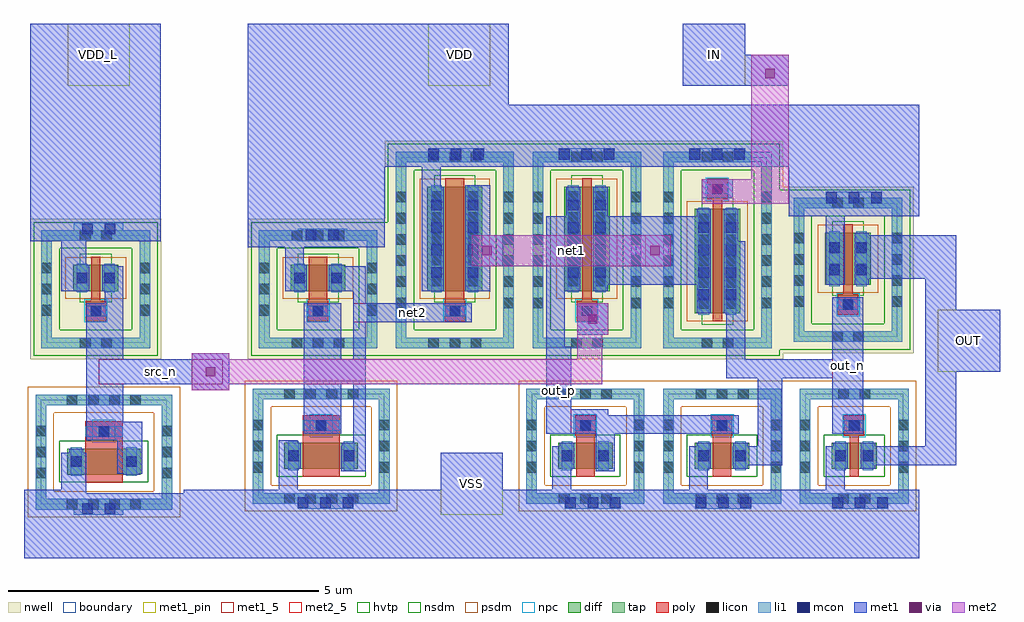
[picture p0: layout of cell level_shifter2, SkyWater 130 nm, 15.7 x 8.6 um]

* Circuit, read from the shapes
.subckt level_shifter2 IN OUT VDD VDD_L VSS net1 net2 out_n out_p src_n
XM1 src_n src_n VSS VSS sky130_fd_pr__nfet_01v8 w=0.42 l=0.6
XM2 net2 net2 VSS VSS sky130_fd_pr__nfet_01v8 w=0.42 l=0.6
XM3 out_p out_p VSS VSS sky130_fd_pr__nfet_01v8 w=0.42 l=0.3
XM4 out_n out_p VSS VSS sky130_fd_pr__nfet_01v8 w=0.42 l=0.3
XM5 OUT out_n VSS VSS sky130_fd_pr__nfet_01v8 w=0.42 l=0.15
XM6 src_n src_n VDD_L VDD_L sky130_fd_pr__pfet_01v8_hvt w=0.42 l=0.15
XM7 net2 net2 VDD VDD sky130_fd_pr__pfet_01v8_hvt w=0.42 l=0.3
XM8 net1 net2 VDD VDD sky130_fd_pr__pfet_01v8_hvt w=1.68 l=0.3
XM9 net1 src_n out_p VDD sky130_fd_pr__pfet_01v8_hvt w=1.68 l=0.15
XM10 out_n IN net1 VDD sky130_fd_pr__pfet_01v8_hvt w=1.68 l=0.15
XM11 OUT out_n VDD VDD sky130_fd_pr__pfet_01v8_hvt w=0.84 l=0.15
.ends

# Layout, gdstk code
import gdstk
lib = gdstk.Library(unit=1e-6, precision=1e-09)
def R(c, l, rs):  # rectangles x0, y0, x1, y1
    for r in rs: c.add(gdstk.rectangle(r[:2], r[2:], *l))
def A(c, l, x, y, w, h, nx, ny, dx, dy):  # array of equal rectangles
    R(c, l, [(x+i*dx, y+j*dy, x+i*dx+w, y+j*dy+h) for i in range(nx) for j in range(ny)])
nwell = (64, 20)
diff = (65, 20)
tap = (65, 44)
poly = (66, 20)
licon = (66, 44)
li1 = (67, 20)
mcon = (67, 44)
met1_5 = (68, 5)
met1_pin = (68, 16)
met1 = (68, 20)
via = (68, 44)
met2_5 = (69, 5)
met2 = (69, 20)
hvtp = (78, 44)
nsdm = (93, 44)
psdm = (94, 20)
npc = (95, 20)
boundary = (235, 4)

sky130_fd_pr__nfet_01v8_ = lib.new_cell('sky130_fd_pr__nfet_01v8_48YY59')
R(sky130_fd_pr__nfet_01v8_, diff, [(-0.59,-0.055,0.59,0.365)])
R(sky130_fd_pr__nfet_01v8_, tap, [(-1.1,-0.925,1.1,-0.755), (-1.1,-0.755,-0.93,0.755), (0.93,-0.755,1.1,0.755), (-1.1,0.755,1.1,0.925)])
R(sky130_fd_pr__nfet_01v8_, poly, [(-0.3,-0.495,0.3,0.495)])
A(sky130_fd_pr__nfet_01v8_, licon, -0.595, -0.925, 0.17, 0.17, 4, 2, 0.34, 1.68)
A(sky130_fd_pr__nfet_01v8_, licon, -1.1, -0.425, 0.17, 0.17, 1, 3, 0, 0.34)
A(sky130_fd_pr__nfet_01v8_, licon, 0.93, -0.425, 0.17, 0.17, 1, 3, 0, 0.34)
R(sky130_fd_pr__nfet_01v8_, licon, [(-0.085,-0.415,0.085,-0.245), (-0.53,0.07,-0.36,0.24), (0.36,0.07,0.53,0.24)])
R(sky130_fd_pr__nfet_01v8_, li1, [(-1.1,-0.925,1.1,-0.755), (-1.1,-0.755,-0.93,0.755), (0.93,-0.755,1.1,0.755), (-0.3,-0.415,0.3,-0.245), (-0.53,-0.075,-0.36,0.385), (0.36,-0.075,0.53,0.385), (-1.1,0.755,1.1,0.925)])
R(sky130_fd_pr__nfet_01v8_, mcon, [(-0.085,-0.415,0.085,-0.245), (-0.53,0.07,-0.36,0.24), (0.36,0.07,0.53,0.24)])
R(sky130_fd_pr__nfet_01v8_, met1, [(-0.28,-0.445,0.28,-0.215), (-0.56,-0.055,-0.33,0.365), (0.33,-0.055,0.56,0.365)])
R(sky130_fd_pr__nfet_01v8_, nsdm, [(-0.715,-0.18,0.715,0.49)])
R(sky130_fd_pr__nfet_01v8_, psdm, [(-1.225,-1.05,1.225,-0.63), (-1.225,-0.63,-0.805,0.63), (0.805,-0.63,1.225,0.63), (-1.225,0.63,1.225,1.05)])
R(sky130_fd_pr__nfet_01v8_, npc, [(-0.185,-0.515,0.185,-0.145)])
R(sky130_fd_pr__nfet_01v8_, boundary, [(-1.015,-0.84,1.015,0.84)])

sky130_fd_pr__pfet_01v8_ = lib.new_cell('sky130_fd_pr__pfet_01v8_hvt_2MG8BZ')
R(sky130_fd_pr__pfet_01v8_, nwell, [(-1.055,-1.34,1.055,1.34)])
R(sky130_fd_pr__pfet_01v8_, diff, [(-0.365,-0.24,0.365,0.6)])
R(sky130_fd_pr__pfet_01v8_, tap, [(-0.875,-1.16,0.875,-0.99), (-0.875,-0.99,-0.705,0.99), (0.705,-0.99,0.875,0.99), (-0.875,0.99,0.875,1.16)])
R(sky130_fd_pr__pfet_01v8_, poly, [(-0.165,-0.725,0.165,-0.395), (-0.075,-0.395,0.075,0.73)])
A(sky130_fd_pr__pfet_01v8_, licon, -0.875, -0.595, 0.17, 0.17, 1, 4, 0, 0.34)
A(sky130_fd_pr__pfet_01v8_, licon, 0.705, -0.595, 0.17, 0.17, 1, 4, 0, 0.34)
R(sky130_fd_pr__pfet_01v8_, licon, [(-0.255,-1.16,-0.085,-0.99), (0.085,-1.16,0.255,-0.99), (-0.085,-0.645,0.085,-0.475), (-0.305,-0.075,-0.135,0.095), (0.135,-0.075,0.305,0.095), (-0.305,0.265,-0.135,0.435), (0.135,0.265,0.305,0.435), (-0.255,0.99,-0.085,1.16), (0.085,0.99,0.255,1.16)])
R(sky130_fd_pr__pfet_01v8_, li1, [(-0.875,-1.16,0.875,-0.99), (-0.875,-0.99,-0.705,0.99), (0.705,-0.99,0.875,0.99), (-0.165,-0.645,0.165,-0.475), (-0.305,-0.26,-0.135,0.62), (0.135,-0.26,0.305,0.62), (-0.875,0.99,0.875,1.16)])
R(sky130_fd_pr__pfet_01v8_, mcon, [(-0.085,-0.645,0.085,-0.475), (-0.305,-0.085,-0.135,0.085), (0.135,-0.085,0.305,0.085), (-0.305,0.275,-0.135,0.445), (0.135,0.275,0.305,0.445)])
R(sky130_fd_pr__pfet_01v8_, met1, [(-0.145,-0.675,0.145,-0.445), (-0.335,-0.24,-0.105,0.6), (0.105,-0.24,0.335,0.6)])
R(sky130_fd_pr__pfet_01v8_, hvtp, [(-0.255,-0.42,0.255,0.78)])
R(sky130_fd_pr__pfet_01v8_, nsdm, [(-1,-1.285,1,-0.865), (-1,-0.865,-0.58,0.865), (0.58,-0.865,1,0.865), (-1,0.865,1,1.285)])
R(sky130_fd_pr__pfet_01v8_, psdm, [(-0.49,-0.365,0.49,0.725)])
R(sky130_fd_pr__pfet_01v8_, npc, [(-0.185,-0.745,0.185,-0.375)])
R(sky130_fd_pr__pfet_01v8_, boundary, [(-0.79,-1.075,0.79,1.075)])

c_sky130_fd_pr__nfet_01v8_ = lib.new_cell('sky130_fd_pr__nfet_01v8_L78EGD')
R(c_sky130_fd_pr__nfet_01v8_, diff, [(-0.365,-0.365,0.365,0.055)])
R(c_sky130_fd_pr__nfet_01v8_, tap, [(-0.875,-0.925,0.875,-0.755), (-0.875,-0.755,-0.705,0.755), (0.705,-0.755,0.875,0.755), (-0.875,0.755,0.875,0.925)])
R(c_sky130_fd_pr__nfet_01v8_, poly, [(-0.075,-0.495,0.075,0.165), (-0.165,0.165,0.165,0.495)])
A(c_sky130_fd_pr__nfet_01v8_, licon, -0.875, -0.425, 0.17, 0.17, 1, 3, 0, 0.34)
A(c_sky130_fd_pr__nfet_01v8_, licon, 0.705, -0.425, 0.17, 0.17, 1, 3, 0, 0.34)
R(c_sky130_fd_pr__nfet_01v8_, licon, [(-0.255,-0.925,-0.085,-0.755), (0.085,-0.925,0.255,-0.755), (-0.305,-0.24,-0.135,-0.07), (0.135,-0.24,0.305,-0.07), (-0.085,0.245,0.085,0.415), (-0.255,0.755,-0.085,0.925), (0.085,0.755,0.255,0.925)])
R(c_sky130_fd_pr__nfet_01v8_, li1, [(-0.875,-0.925,0.875,-0.755), (-0.875,-0.755,-0.705,0.755), (0.705,-0.755,0.875,0.755), (-0.305,-0.385,-0.135,0.075), (0.135,-0.385,0.305,0.075), (-0.165,0.245,0.165,0.415), (-0.875,0.755,0.875,0.925)])
R(c_sky130_fd_pr__nfet_01v8_, mcon, [(-0.305,-0.24,-0.135,-0.07), (0.135,-0.24,0.305,-0.07), (-0.085,0.245,0.085,0.415)])
R(c_sky130_fd_pr__nfet_01v8_, met1, [(-0.335,-0.365,-0.105,0.055), (0.105,-0.365,0.335,0.055), (-0.145,0.215,0.145,0.445)])
R(c_sky130_fd_pr__nfet_01v8_, nsdm, [(-0.49,-0.49,0.49,0.18)])
R(c_sky130_fd_pr__nfet_01v8_, psdm, [(-1,-1.05,1,-0.63), (-1,-0.63,-0.58,0.63), (0.58,-0.63,1,0.63), (-1,0.63,1,1.05)])
R(c_sky130_fd_pr__nfet_01v8_, npc, [(-0.185,0.145,0.185,0.515)])
R(c_sky130_fd_pr__nfet_01v8_, boundary, [(-0.79,-0.84,0.79,0.84)])

c_sky130_fd_pr__nfet_01v8__ = lib.new_cell('sky130_fd_pr__nfet_01v8_L6RDF9')
R(c_sky130_fd_pr__nfet_01v8__, diff, [(-0.44,-0.365,0.44,0.055)])
R(c_sky130_fd_pr__nfet_01v8__, tap, [(-0.95,-0.925,0.95,-0.755), (-0.95,-0.755,-0.78,0.755), (0.78,-0.755,0.95,0.755), (-0.95,0.755,0.95,0.925)])
R(c_sky130_fd_pr__nfet_01v8__, poly, [(-0.15,-0.495,0.15,0.165), (-0.165,0.165,0.165,0.495)])
A(c_sky130_fd_pr__nfet_01v8__, licon, -0.425, -0.925, 0.17, 0.17, 3, 2, 0.34, 1.68)
A(c_sky130_fd_pr__nfet_01v8__, licon, -0.95, -0.425, 0.17, 0.17, 1, 3, 0, 0.34)
A(c_sky130_fd_pr__nfet_01v8__, licon, 0.78, -0.425, 0.17, 0.17, 1, 3, 0, 0.34)
R(c_sky130_fd_pr__nfet_01v8__, licon, [(-0.38,-0.24,-0.21,-0.07), (0.21,-0.24,0.38,-0.07), (-0.085,0.245,0.085,0.415)])
R(c_sky130_fd_pr__nfet_01v8__, li1, [(-0.95,-0.925,0.95,-0.755), (-0.95,-0.755,-0.78,0.755), (0.78,-0.755,0.95,0.755), (-0.38,-0.385,-0.21,0.075), (0.21,-0.385,0.38,0.075), (-0.165,0.245,0.165,0.415), (-0.95,0.755,0.95,0.925)])
R(c_sky130_fd_pr__nfet_01v8__, mcon, [(-0.38,-0.24,-0.21,-0.07), (0.21,-0.24,0.38,-0.07), (-0.085,0.245,0.085,0.415)])
R(c_sky130_fd_pr__nfet_01v8__, met1, [(-0.41,-0.365,-0.18,0.055), (0.18,-0.365,0.41,0.055), (-0.145,0.215,0.145,0.445)])
R(c_sky130_fd_pr__nfet_01v8__, nsdm, [(-0.565,-0.49,0.565,0.18)])
R(c_sky130_fd_pr__nfet_01v8__, psdm, [(-1.075,-1.05,1.075,-0.63), (-1.075,-0.63,-0.655,0.63), (0.655,-0.63,1.075,0.63), (-1.075,0.63,1.075,1.05)])
R(c_sky130_fd_pr__nfet_01v8__, npc, [(-0.185,0.145,0.185,0.515)])
R(c_sky130_fd_pr__nfet_01v8__, boundary, [(-0.865,-0.84,0.865,0.84)])

c_sky130_fd_pr__pfet_01v8_ = lib.new_cell('sky130_fd_pr__pfet_01v8_hvt_LY4TMQ')
R(c_sky130_fd_pr__pfet_01v8_, nwell, [(-1.055,-1.76,1.055,1.76)])
R(c_sky130_fd_pr__pfet_01v8_, diff, [(-0.365,-0.66,0.365,1.02)])
R(c_sky130_fd_pr__pfet_01v8_, tap, [(-0.875,-1.58,0.875,-1.41), (-0.875,-1.41,-0.705,1.41), (0.705,-1.41,0.875,1.41), (-0.875,1.41,0.875,1.58)])
R(c_sky130_fd_pr__pfet_01v8_, poly, [(-0.165,-1.145,0.165,-0.815), (-0.075,-0.815,0.075,1.15)])
A(c_sky130_fd_pr__pfet_01v8_, licon, -0.875, -0.935, 0.17, 0.17, 1, 6, 0, 0.34)
A(c_sky130_fd_pr__pfet_01v8_, licon, 0.705, -0.935, 0.17, 0.17, 1, 6, 0, 0.34)
A(c_sky130_fd_pr__pfet_01v8_, licon, -0.305, -0.585, 0.17, 0.17, 1, 5, 0, 0.34)
A(c_sky130_fd_pr__pfet_01v8_, licon, 0.135, -0.585, 0.17, 0.17, 1, 5, 0, 0.34)
R(c_sky130_fd_pr__pfet_01v8_, licon, [(-0.255,-1.58,-0.085,-1.41), (0.085,-1.58,0.255,-1.41), (-0.085,-1.065,0.085,-0.895), (-0.255,1.41,-0.085,1.58), (0.085,1.41,0.255,1.58)])
R(c_sky130_fd_pr__pfet_01v8_, li1, [(-0.875,-1.58,0.875,-1.41), (-0.875,-1.41,-0.705,1.41), (0.705,-1.41,0.875,1.41), (-0.165,-1.065,0.165,-0.895), (-0.305,-0.68,-0.135,1.04), (0.135,-0.68,0.305,1.04), (-0.875,1.41,0.875,1.58)])
A(c_sky130_fd_pr__pfet_01v8_, mcon, -0.305, -0.445, 0.17, 0.17, 1, 4, 0, 0.36)
A(c_sky130_fd_pr__pfet_01v8_, mcon, 0.135, -0.445, 0.17, 0.17, 1, 4, 0, 0.36)
R(c_sky130_fd_pr__pfet_01v8_, mcon, [(-0.085,-1.065,0.085,-0.895)])
R(c_sky130_fd_pr__pfet_01v8_, met1, [(-0.145,-1.095,0.145,-0.865), (-0.335,-0.66,-0.105,1.02), (0.105,-0.66,0.335,1.02)])
R(c_sky130_fd_pr__pfet_01v8_, hvtp, [(-0.255,-0.84,0.255,1.2)])
R(c_sky130_fd_pr__pfet_01v8_, nsdm, [(-1,-1.705,1,-1.285), (-1,-1.285,-0.58,1.285), (0.58,-1.285,1,1.285), (-1,1.285,1,1.705)])
R(c_sky130_fd_pr__pfet_01v8_, psdm, [(-0.49,-0.785,0.49,1.145)])
R(c_sky130_fd_pr__pfet_01v8_, npc, [(-0.185,-1.165,0.185,-0.795)])
R(c_sky130_fd_pr__pfet_01v8_, boundary, [(-0.79,-1.495,0.79,1.495)])

c_sky130_fd_pr__pfet_01v8__ = lib.new_cell('sky130_fd_pr__pfet_01v8_hvt_M479BK')
R(c_sky130_fd_pr__pfet_01v8__, nwell, [(-1.055,-1.13,1.055,1.13)])
R(c_sky130_fd_pr__pfet_01v8__, diff, [(-0.365,-0.39,0.365,0.03)])
R(c_sky130_fd_pr__pfet_01v8__, tap, [(-0.875,-0.95,0.875,-0.78), (-0.875,-0.78,-0.705,0.78), (0.705,-0.78,0.875,0.78), (-0.875,0.78,0.875,0.95)])
R(c_sky130_fd_pr__pfet_01v8__, poly, [(-0.075,-0.52,0.075,0.185), (-0.165,0.185,0.165,0.515)])
A(c_sky130_fd_pr__pfet_01v8__, licon, -0.875, -0.425, 0.17, 0.17, 1, 3, 0, 0.34)
A(c_sky130_fd_pr__pfet_01v8__, licon, 0.705, -0.425, 0.17, 0.17, 1, 3, 0, 0.34)
R(c_sky130_fd_pr__pfet_01v8__, licon, [(-0.255,-0.95,-0.085,-0.78), (0.085,-0.95,0.255,-0.78), (-0.305,-0.265,-0.135,-0.095), (0.135,-0.265,0.305,-0.095), (-0.085,0.265,0.085,0.435), (-0.255,0.78,-0.085,0.95), (0.085,0.78,0.255,0.95)])
R(c_sky130_fd_pr__pfet_01v8__, li1, [(-0.875,-0.95,0.875,-0.78), (-0.875,-0.78,-0.705,0.78), (0.705,-0.78,0.875,0.78), (-0.305,-0.41,-0.135,0.05), (0.135,-0.41,0.305,0.05), (-0.165,0.265,0.165,0.435), (-0.875,0.78,0.875,0.95)])
R(c_sky130_fd_pr__pfet_01v8__, mcon, [(-0.305,-0.265,-0.135,-0.095), (0.135,-0.265,0.305,-0.095), (-0.085,0.265,0.085,0.435)])
R(c_sky130_fd_pr__pfet_01v8__, met1, [(-0.335,-0.39,-0.105,0.03), (0.105,-0.39,0.335,0.03), (-0.145,0.235,0.145,0.465)])
R(c_sky130_fd_pr__pfet_01v8__, hvtp, [(-0.255,-0.57,0.255,0.21)])
R(c_sky130_fd_pr__pfet_01v8__, nsdm, [(-1,-1.075,1,-0.655), (-1,-0.655,-0.58,0.655), (0.58,-0.655,1,0.655), (-1,0.655,1,1.075)])
R(c_sky130_fd_pr__pfet_01v8__, psdm, [(-0.49,-0.515,0.49,0.155)])
R(c_sky130_fd_pr__pfet_01v8__, npc, [(-0.185,0.165,0.185,0.535)])
R(c_sky130_fd_pr__pfet_01v8__, boundary, [(-0.79,-0.865,0.79,0.865)])

c_sky130_fd_pr__pfet_01v8___ = lib.new_cell('sky130_fd_pr__pfet_01v8_hvt_6W9GZD')
R(c_sky130_fd_pr__pfet_01v8___, nwell, [(-1.13,-1.13,1.13,1.13)])
R(c_sky130_fd_pr__pfet_01v8___, diff, [(-0.44,-0.03,0.44,0.39)])
R(c_sky130_fd_pr__pfet_01v8___, tap, [(-0.95,-0.95,0.95,-0.78), (-0.95,-0.78,-0.78,0.78), (0.78,-0.78,0.95,0.78), (-0.95,0.78,0.95,0.95)])
R(c_sky130_fd_pr__pfet_01v8___, poly, [(-0.165,-0.515,0.165,-0.185), (-0.15,-0.185,0.15,0.52)])
A(c_sky130_fd_pr__pfet_01v8___, licon, -0.425, -0.95, 0.17, 0.17, 3, 2, 0.34, 1.73)
A(c_sky130_fd_pr__pfet_01v8___, licon, -0.95, -0.425, 0.17, 0.17, 1, 3, 0, 0.34)
A(c_sky130_fd_pr__pfet_01v8___, licon, 0.78, -0.425, 0.17, 0.17, 1, 3, 0, 0.34)
R(c_sky130_fd_pr__pfet_01v8___, licon, [(-0.085,-0.435,0.085,-0.265), (-0.38,0.095,-0.21,0.265), (0.21,0.095,0.38,0.265)])
R(c_sky130_fd_pr__pfet_01v8___, li1, [(-0.95,-0.95,0.95,-0.78), (-0.95,-0.78,-0.78,0.78), (0.78,-0.78,0.95,0.78), (-0.165,-0.435,0.165,-0.265), (-0.38,-0.05,-0.21,0.41), (0.21,-0.05,0.38,0.41), (-0.95,0.78,0.95,0.95)])
R(c_sky130_fd_pr__pfet_01v8___, mcon, [(-0.085,-0.435,0.085,-0.265), (-0.38,0.095,-0.21,0.265), (0.21,0.095,0.38,0.265)])
R(c_sky130_fd_pr__pfet_01v8___, met1, [(-0.145,-0.465,0.145,-0.235), (-0.41,-0.03,-0.18,0.39), (0.18,-0.03,0.41,0.39)])
R(c_sky130_fd_pr__pfet_01v8___, hvtp, [(-0.33,-0.21,0.33,0.57)])
R(c_sky130_fd_pr__pfet_01v8___, nsdm, [(-1.075,-1.075,1.075,-0.655), (-1.075,-0.655,-0.655,0.655), (0.655,-0.655,1.075,0.655), (-1.075,0.655,1.075,1.075)])
R(c_sky130_fd_pr__pfet_01v8___, psdm, [(-0.565,-0.155,0.565,0.515)])
R(c_sky130_fd_pr__pfet_01v8___, npc, [(-0.185,-0.535,0.185,-0.165)])
R(c_sky130_fd_pr__pfet_01v8___, boundary, [(-0.865,-0.865,0.865,0.865)])

c_sky130_fd_pr__pfet_01v8____ = lib.new_cell('sky130_fd_pr__pfet_01v8_hvt_GCT3R5')
R(c_sky130_fd_pr__pfet_01v8____, nwell, [(-1.13,-1.76,1.13,1.76)])
R(c_sky130_fd_pr__pfet_01v8____, diff, [(-0.44,-0.66,0.44,1.02)])
R(c_sky130_fd_pr__pfet_01v8____, tap, [(-0.95,-1.58,0.95,-1.41), (-0.95,-1.41,-0.78,1.41), (0.78,-1.41,0.95,1.41), (-0.95,1.41,0.95,1.58)])
R(c_sky130_fd_pr__pfet_01v8____, poly, [(-0.165,-1.145,0.165,-0.815), (-0.15,-0.815,0.15,1.15)])
A(c_sky130_fd_pr__pfet_01v8____, licon, -0.425, -1.58, 0.17, 0.17, 3, 2, 0.34, 2.99)
A(c_sky130_fd_pr__pfet_01v8____, licon, -0.95, -0.935, 0.17, 0.17, 1, 6, 0, 0.34)
A(c_sky130_fd_pr__pfet_01v8____, licon, 0.78, -0.935, 0.17, 0.17, 1, 6, 0, 0.34)
A(c_sky130_fd_pr__pfet_01v8____, licon, -0.38, -0.585, 0.17, 0.17, 1, 5, 0, 0.34)
A(c_sky130_fd_pr__pfet_01v8____, licon, 0.21, -0.585, 0.17, 0.17, 1, 5, 0, 0.34)
R(c_sky130_fd_pr__pfet_01v8____, licon, [(-0.085,-1.065,0.085,-0.895)])
R(c_sky130_fd_pr__pfet_01v8____, li1, [(-0.95,-1.58,0.95,-1.41), (-0.95,-1.41,-0.78,1.41), (0.78,-1.41,0.95,1.41), (-0.165,-1.065,0.165,-0.895), (-0.38,-0.68,-0.21,1.04), (0.21,-0.68,0.38,1.04), (-0.95,1.41,0.95,1.58)])
A(c_sky130_fd_pr__pfet_01v8____, mcon, -0.38, -0.445, 0.17, 0.17, 1, 4, 0, 0.36)
A(c_sky130_fd_pr__pfet_01v8____, mcon, 0.21, -0.445, 0.17, 0.17, 1, 4, 0, 0.36)
R(c_sky130_fd_pr__pfet_01v8____, mcon, [(-0.085,-1.065,0.085,-0.895)])
R(c_sky130_fd_pr__pfet_01v8____, met1, [(-0.145,-1.095,0.145,-0.865), (-0.41,-0.66,-0.18,1.02), (0.18,-0.66,0.41,1.02)])
R(c_sky130_fd_pr__pfet_01v8____, hvtp, [(-0.33,-0.84,0.33,1.2)])
R(c_sky130_fd_pr__pfet_01v8____, nsdm, [(-1.075,-1.705,1.075,-1.285), (-1.075,-1.285,-0.655,1.285), (0.655,-1.285,1.075,1.285), (-1.075,1.285,1.075,1.705)])
R(c_sky130_fd_pr__pfet_01v8____, psdm, [(-0.565,-0.785,0.565,1.145)])
R(c_sky130_fd_pr__pfet_01v8____, npc, [(-0.185,-1.165,0.185,-0.795)])
R(c_sky130_fd_pr__pfet_01v8____, boundary, [(-0.865,-1.495,0.865,1.495)])

c_sky130_fd_pr__pfet_01v8_____ = lib.new_cell('sky130_fd_pr__pfet_01v8_hvt_MY4TMJ')
R(c_sky130_fd_pr__pfet_01v8_____, nwell, [(-1.055,-1.76,1.055,1.76)])
R(c_sky130_fd_pr__pfet_01v8_____, diff, [(-0.365,-1.02,0.365,0.66)])
R(c_sky130_fd_pr__pfet_01v8_____, tap, [(-0.875,-1.58,0.875,-1.41), (-0.875,-1.41,-0.705,1.41), (0.705,-1.41,0.875,1.41), (-0.875,1.41,0.875,1.58)])
R(c_sky130_fd_pr__pfet_01v8_____, poly, [(-0.075,-1.15,0.075,0.815), (-0.165,0.815,0.165,1.145)])
A(c_sky130_fd_pr__pfet_01v8_____, licon, -0.305, -0.945, 0.17, 0.17, 1, 5, 0, 0.34)
A(c_sky130_fd_pr__pfet_01v8_____, licon, 0.135, -0.945, 0.17, 0.17, 1, 5, 0, 0.34)
A(c_sky130_fd_pr__pfet_01v8_____, licon, -0.875, -0.935, 0.17, 0.17, 1, 6, 0, 0.34)
A(c_sky130_fd_pr__pfet_01v8_____, licon, 0.705, -0.935, 0.17, 0.17, 1, 6, 0, 0.34)
R(c_sky130_fd_pr__pfet_01v8_____, licon, [(-0.255,-1.58,-0.085,-1.41), (0.085,-1.58,0.255,-1.41), (-0.085,0.895,0.085,1.065), (-0.255,1.41,-0.085,1.58), (0.085,1.41,0.255,1.58)])
R(c_sky130_fd_pr__pfet_01v8_____, li1, [(-0.875,-1.58,0.875,-1.41), (-0.875,-1.41,-0.705,1.41), (0.705,-1.41,0.875,1.41), (-0.305,-1.04,-0.135,0.68), (0.135,-1.04,0.305,0.68), (-0.165,0.895,0.165,1.065), (-0.875,1.41,0.875,1.58)])
A(c_sky130_fd_pr__pfet_01v8_____, mcon, -0.305, -0.805, 0.17, 0.17, 1, 4, 0, 0.36)
A(c_sky130_fd_pr__pfet_01v8_____, mcon, 0.135, -0.805, 0.17, 0.17, 1, 4, 0, 0.36)
R(c_sky130_fd_pr__pfet_01v8_____, mcon, [(-0.085,0.895,0.085,1.065)])
R(c_sky130_fd_pr__pfet_01v8_____, met1, [(-0.335,-1.02,-0.105,0.66), (0.105,-1.02,0.335,0.66), (-0.145,0.865,0.145,1.095)])
R(c_sky130_fd_pr__pfet_01v8_____, hvtp, [(-0.255,-1.2,0.255,0.84)])
R(c_sky130_fd_pr__pfet_01v8_____, nsdm, [(-1,-1.705,1,-1.285), (-1,-1.285,-0.58,1.285), (0.58,-1.285,1,1.285), (-1,1.285,1,1.705)])
R(c_sky130_fd_pr__pfet_01v8_____, psdm, [(-0.49,-1.145,0.49,0.785)])
R(c_sky130_fd_pr__pfet_01v8_____, npc, [(-0.185,0.795,0.185,1.165)])
R(c_sky130_fd_pr__pfet_01v8_____, boundary, [(-0.79,-1.495,0.79,1.495)])

level_shifter2 = lib.new_cell('level_shifter2')
A(level_shifter2, li1, 24, -2.7, 0.9, 0.2, 3, 1, 2.1, 0)
R(level_shifter2, li1, [(18.3,-8.4,19.1,-8.2), (21.9,-8.3,22.8,-8.1), (26.2,-8.3,27.1,-8.1), (28.3,-8.3,29.2,-8.1), (30.5,-8.3,31.4,-8.1), (21.9,-4,22.7,-3.8), (18.3,-3.9,19.1,-3.7), (30.4,-3.4,31.3,-3.2)])
A(level_shifter2, mcon, 21.905, -8.285, 0.17, 0.17, 3, 1, 0.36, 0)
A(level_shifter2, mcon, 26.205, -8.285, 0.17, 0.17, 3, 1, 0.36, 0)
A(level_shifter2, mcon, 28.305, -8.285, 0.17, 0.17, 3, 1, 0.36, 0)
A(level_shifter2, mcon, 30.505, -8.285, 0.17, 0.17, 3, 1, 0.36, 0)
A(level_shifter2, mcon, 30.405, -3.385, 0.17, 0.17, 3, 1, 0.36, 0)
A(level_shifter2, mcon, 24.005, -2.685, 0.17, 0.17, 3, 1, 0.36, 0)
A(level_shifter2, mcon, 26.105, -2.685, 0.17, 0.17, 3, 1, 0.36, 0)
A(level_shifter2, mcon, 28.205, -2.685, 0.17, 0.17, 3, 1, 0.36, 0)
R(level_shifter2, mcon, [(18.435,-8.385,18.605,-8.215), (18.795,-8.385,18.965,-8.215), (22.035,-3.985,22.205,-3.815), (22.395,-3.985,22.565,-3.815), (18.435,-3.885,18.605,-3.715), (18.795,-3.885,18.965,-3.715)])
R(level_shifter2, met1_5, [(25.9,-7.1,26.3,-5.7), (30.5,-7.1,31,-4.9), (18.7,-6.3,20.7,-5.9), (22.8,-5.3,24.7,-5)])
R(level_shifter2, met1_pin, [(24.2,-8.4,25.2,-7.4), (32.2,-6.1,33.2,-5.1), (18.2,-1.5,19.2,-0.5), (24,-1.5,25,-0.5), (28.1,-1.5,29.1,-0.5)])
A(level_shifter2, met1, 26, -8, 0.3, 0.7, 3, 1, 2.2, 0)
R(level_shifter2, met1, [(17.5,-9.1,31.9,-8.05), (17.5,-8.05,18.5,-8), (20.07,-8.05,31.9,-8), (18.1,-8,18.5,-7.4), (21.6,-8,21.9,-7.2), (24.2,-8,25.2,-7.4), (19,-7.74,19.4,-7.2), (22.6,-7.7,23,-7.3), (26.7,-7.7,27,-7.1), (28.9,-7.6,29.7,-7.3), (31,-7.6,32.5,-7.3), (22.8,-7.3,23,-6.3), (29.3,-7.3,29.7,-6.2), (32,-7.3,32.5,-6.1), (18.5,-7.2,19.4,-6.9), (22,-7.1,22.6,-6.3), (25.9,-7.1,29,-6.8), (30.5,-7.1,31,-6.2), (18.5,-6.9,19.1,-6.3), (25.9,-6.8,26.9,-6.7), (25.9,-6.7,26.3,-5.7), (20.2,-6.4,20.8,-6.3), (18.5,-6.3,20.8,-5.9), (22,-6.3,23,-5.9), (28.8,-6.2,31,-5.9), (32,-6.1,33.2,-5.1), (18.5,-5.9,19.1,-5), (20.2,-5.9,20.8,-5.8), (22,-5.9,22.6,-5), (22.8,-5.9,23,-5.3), (28.8,-5.9,29.1,-4), (30.5,-5.9,31,-4.9), (25.9,-5.7,26.2,-4.8), (26.4,-5.5,26.9,-5), (22.8,-5.3,24.7,-5), (32,-5.1,32.5,-4.6), (18.8,-5,19.1,-4.4), (22.8,-5,23,-4.8), (18.1,-4.8,18.5,-4), (21.7,-4.8,22,-4.1), (22.4,-4.8,23,-4.4), (23.9,-4.8,24.2,-2.8), (24.6,-4.8,25,-4.4), (25.9,-4.8,26.3,-4.7), (25.9,-4.7,26.4,-3.6), (26.7,-4.7,28.5,-3.6), (30.4,-4.7,30.7,-3.6), (30.9,-4.6,32.5,-3.9), (24.6,-4.4,25.2,-3.9), (21.1,-4.1,23.3,-2.8), (17.6,-4,19.7,-0.5), (24.6,-3.9,25,-3.1), (29.8,-3.6,31.9,-2.8), (28.4,-3.3,28.9,-3), (21.1,-2.8,31.9,-1.8), (21.1,-1.8,25.3,-0.5), (28.1,-1.5,29.8,-1), (28.1,-1,29.1,-0.5)])
R(level_shifter2, via, [(20.425,-6.175,20.575,-6.025), (26.575,-5.325,26.725,-5.175), (24.875,-4.225,25.025,-4.075), (27.575,-4.225,27.725,-4.075), (28.575,-3.225,28.725,-3.075), (29.425,-1.375,29.575,-1.225)])
R(level_shifter2, met2_5, [(25.1,-4.4,27.5,-3.9)])
R(level_shifter2, met2, [(20.2,-6.4,20.8,-6.3), (20.2,-6.3,26.8,-5.9), (20.2,-5.9,20.8,-5.8), (26.4,-5.9,26.8,-5.5), (26.4,-5.5,26.9,-5), (24.7,-4.4,27.9,-3.9), (28.4,-3.4,29.8,-3), (29.2,-3,29.8,-1)])
R(level_shifter2, nsdm, [(23.305,-5.845,23.355,-3.695), (25.505,-5.845,25.555,-2.435), (27.555,-5.845,27.655,-2.435), (29.655,-5.745,29.755,-3.175)])
R(level_shifter2, psdm, [(27.605,-8.345,27.655,-6.245), (29.805,-8.345,29.855,-6.245)])
level_shifter2.add(gdstk.Reference(sky130_fd_pr__nfet_01v8_, (18.785,-7.39), x_reflection=True))
level_shifter2.add(gdstk.Reference(sky130_fd_pr__pfet_01v8_, (30.755,-4.46)))
level_shifter2.add(gdstk.Reference(c_sky130_fd_pr__nfet_01v8_, (30.855,-7.295)))
level_shifter2.add(gdstk.Reference(c_sky130_fd_pr__nfet_01v8__, (26.53,-7.295)))
level_shifter2.add(gdstk.Reference(c_sky130_fd_pr__pfet_01v8_, (26.555,-4.14)))
level_shifter2.add(gdstk.Reference(c_sky130_fd_pr__pfet_01v8__, (18.655,-4.77), x_reflection=True))
level_shifter2.add(gdstk.Reference(c_sky130_fd_pr__pfet_01v8___, (22.23,-4.77)))
level_shifter2.add(gdstk.Reference(c_sky130_fd_pr__pfet_01v8____, (24.43,-4.14)))
level_shifter2.add(gdstk.Reference(c_sky130_fd_pr__pfet_01v8_____, (28.655,-4.14)))
level_shifter2.add(gdstk.Reference(c_sky130_fd_pr__nfet_01v8__, (28.73,-7.295)))
level_shifter2.add(gdstk.Reference(sky130_fd_pr__nfet_01v8_, (22.28,-7.295), x_reflection=True))
level_shifter2.add(gdstk.Label('src_n', (19.7,-6.1), layer=68, texttype=5))
level_shifter2.add(gdstk.Label('out_n', (30.75,-6), layer=68, texttype=5))
level_shifter2.add(gdstk.Label('net2', (23.75,-5.15), layer=68, texttype=5))
level_shifter2.add(gdstk.Label('net1', (26.3,-4.15), layer=69, texttype=5))
level_shifter2.add(gdstk.Label('out_p', (26.1,-6.4), layer=68, texttype=5))
level_shifter2.add(gdstk.Label('VSS', (24.7,-7.9), layer=68, texttype=5))
level_shifter2.add(gdstk.Label('VDD', (24.5,-1), layer=68, texttype=5))
level_shifter2.add(gdstk.Label('VDD_L', (18.7,-1), layer=68, texttype=5))
level_shifter2.add(gdstk.Label('IN', (28.6,-1), layer=68, texttype=5))
level_shifter2.add(gdstk.Label('OUT', (32.7,-5.6), layer=68, texttype=5))

lib.write_gds('level_shifter2.gds')
